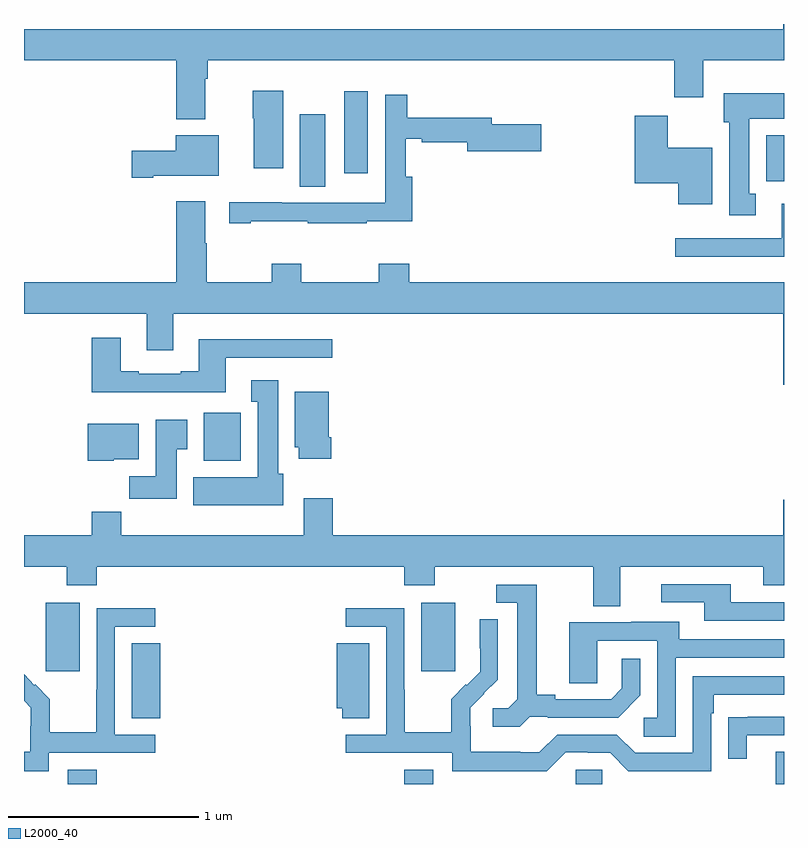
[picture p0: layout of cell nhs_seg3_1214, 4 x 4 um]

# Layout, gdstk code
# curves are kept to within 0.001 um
import gdstk
lib = gdstk.Library(unit=1e-6, precision=1e-09)
def R(c, l, rs):  # rectangles x0, y0, x1, y1
    for r in rs: c.add(gdstk.rectangle(r[:2], r[2:], *l))
def P(c, l, *ps):  # polygons
    for p in ps: c.add(gdstk.Polygon(p, *l))
L2000_40 = (2000, 40)

nhs_seg3_1214 = lib.new_cell('nhs_seg3_1214')
R(nhs_seg3_1214, L2000_40, [(173.231,738.4,173.384,738.475), (175.001,738.4,175.153,738.475), (175.905,738.4,176.043,738.474), (176.957,738.4,177,738.571), (173.567,738.745,173.717,739.142), (173.114,738.993,173.293,739.354), (175.091,738.993,175.27,739.354), (173.945,740.102,174.141,740.353), (174.452,741.544,174.586,741.925), (176.906,741.572,177,741.814), (174.686,741.615,174.808,742.045)])
P(nhs_seg3_1214, L2000_40, [(173.953,742.112),(173.966,742.112),(173.966,742.208),(176.423,742.208),(176.423,742.014),(176.575,742.014),(176.575,742.208),(177,742.208),(177,742.4),(176.996,742.4),(176.996,742.372),(173,742.372),(173,742.208),(173.801,742.208),(173.801,741.899),(173.953,741.899)],
  [(174.364,742.048),(174.203,742.048),(174.203,741.903),(174.209,741.903),(174.209,741.642),(174.364,741.642)],
  [(176.851,741.506),(176.818,741.506),(176.818,741.902),(177,741.902),(177,742.036),(176.684,742.036),(176.684,741.882),(176.711,741.882),(176.711,741.393),(176.851,741.393)],
  [(174.193,741.361),(174.493,741.361),(174.493,741.351),(174.803,741.351),(174.803,741.361),(175.043,741.361),(175.043,741.595),(175.009,741.595),(175.009,741.797),(175.093,741.797),(175.093,741.778),(175.334,741.778),(175.334,741.731),(175.723,741.731),(175.723,741.873),(175.462,741.873),(175.462,741.907),(175.016,741.907),(175.016,742.027),(174.9,742.027),(174.9,741.46),(174.69,741.46),(174.69,741.459),(174.356,741.459),(174.356,741.461),(174.081,741.461),(174.081,741.351),(174.193,741.351)],
  [(176.623,741.748),(176.388,741.748),(176.388,741.916),(176.215,741.916),(176.215,741.563),(176.444,741.563),(176.444,741.452),(176.623,741.452)],
  [(173.68,741.602),(174.025,741.602),(174.025,741.814),(173.798,741.814),(173.798,741.732),(173.568,741.732),(173.568,741.59),(173.68,741.59)],
  [(177,741.04),(175.028,741.04),(175.028,741.139),(174.868,741.139),(174.868,741.04),(174.459,741.04),(174.459,741.139),(174.304,741.139),(174.304,741.04),(173.961,741.04),(173.961,741.245),(173.953,741.245),(173.953,741.466),(173.801,741.466),(173.801,741.04),(173,741.04),(173,740.876),(173.645,740.876),(173.645,740.682),(173.785,740.682),(173.785,740.876),(176.996,740.876),(176.996,740.502),(177,740.502)],
  [(177,741.454),(176.987,741.454),(176.987,741.273),(176.427,741.273),(176.427,741.176),(177,741.176)],
  [(174.061,740.643),(174.622,740.643),(174.622,740.74),(173.921,740.74),(173.921,740.572),(173.825,740.572),(173.825,740.559),(173.605,740.559),(173.605,740.572),(173.509,740.572),(173.509,740.749),(173.357,740.749),(173.357,740.462),(174.061,740.462)],
  [(174.364,740.034),(174.337,740.034),(174.337,740.524),(174.197,740.524),(174.197,740.411),(174.23,740.411),(174.23,740.014),(173.891,740.014),(173.891,739.868),(174.364,739.868)],
  [(174.617,740.224),(174.604,740.224),(174.604,740.464),(174.425,740.464),(174.425,740.172),(174.446,740.172),(174.446,740.112),(174.617,740.112)],
  [(173.803,740.161),(173.86,740.161),(173.86,740.317),(173.693,740.317),(173.693,740.02),(173.554,740.02),(173.554,739.902),(173.803,739.902)],
  [(173.472,740.108),(173.605,740.108),(173.605,740.296),(173.336,740.296),(173.336,740.102),(173.472,740.102)],
  [(176.137,739.544),(176.891,739.544),(176.891,739.445),(177,739.445),(177,739.897),(176.996,739.897),(176.996,739.708),(174.626,739.708),(174.626,739.903),(174.473,739.903),(174.473,739.708),(173.513,739.708),(173.513,739.832),(173.357,739.832),(173.357,739.708),(173,739.708),(173,739.544),(173.224,739.544),(173.224,739.445),(173.384,739.445),(173.384,739.544),(175.001,739.544),(175.001,739.445),(175.161,739.445),(175.161,739.544),(175.997,739.544),(175.997,739.336),(176.137,739.336)],
  [(177,739.356),(176.719,739.356),(176.719,739.452),(176.355,739.452),(176.355,739.356),(176.579,739.356),(176.579,739.26),(177,739.26)],
  [(175.662,738.753),(175.756,738.753),(175.756,738.75),(176.128,738.75),(176.244,738.866),(176.244,739.06),(176.147,739.06),(176.147,738.903),(176.09,738.846),(175.795,738.846),(175.795,738.869),(175.699,738.869),(175.699,739.449),(175.485,739.449),(175.485,739.353),(175.595,739.353),(175.595,738.845),(175.548,738.798),(175.467,738.798),(175.467,738.701),(175.61,738.701)],
  [(173.13,738.564),(173.692,738.564),(173.692,738.66),(173.478,738.66),(173.478,739.227),(173.692,739.227),(173.692,739.326),(173.382,739.326),(173.382,738.896),(173.38,738.896),(173.38,738.673),(173.135,738.673),(173.135,738.847),(173.058,738.924),(173.055,738.921),(173,738.977),(173,738.838),(173.036,738.802),(173.036,738.705),(173.034,738.705),(173.034,738.571),(173,738.571),(173,738.467),(173.13,738.467)],
  [(175.851,738.567),(175.967,738.567),(175.967,738.564),(176.085,738.564),(176.181,738.468),(176.616,738.468),(176.616,738.773),(176.629,738.773),(176.629,738.87),(177,738.87),(177,738.966),(176.52,738.966),(176.52,738.564),(176.217,738.564),(176.121,738.66),(175.806,738.66),(175.713,738.567),(175.613,738.567),(175.613,738.571),(175.35,738.571),(175.35,738.705),(175.348,738.705),(175.348,738.802),(175.494,738.95),(175.494,739.268),(175.398,739.268),(175.398,739.114),(175.4,739.114),(175.4,738.992),(175.329,738.921),(175.326,738.924),(175.249,738.847),(175.249,738.673),(175.005,738.673),(175.005,738.896),(175.002,738.896),(175.002,739.326),(174.693,739.326),(174.693,739.227),(174.906,739.227),(174.906,738.66),(174.693,738.66),(174.693,738.564),(175.254,738.564),(175.254,738.467),(175.751,738.467)],
  [(176.43,739.065),(177,739.065),(177,739.161),(176.449,739.161),(176.449,739.255),(176.195,739.255),(176.195,739.251),(175.871,739.251),(175.871,738.931),(176.016,738.931),(176.016,739.155),(176.334,739.155),(176.334,738.75),(176.262,738.75),(176.262,738.649),(176.43,738.649)],
  [(174.817,739.142),(174.647,739.142),(174.647,738.798),(174.674,738.798),(174.674,738.745),(174.817,738.745)],
  [(176.803,738.657),(177,738.657),(177,738.753),(176.809,738.753),(176.809,738.752),(176.707,738.752),(176.707,738.534),(176.803,738.534)])

lib.write_gds('nhs_seg3_1214.gds')
